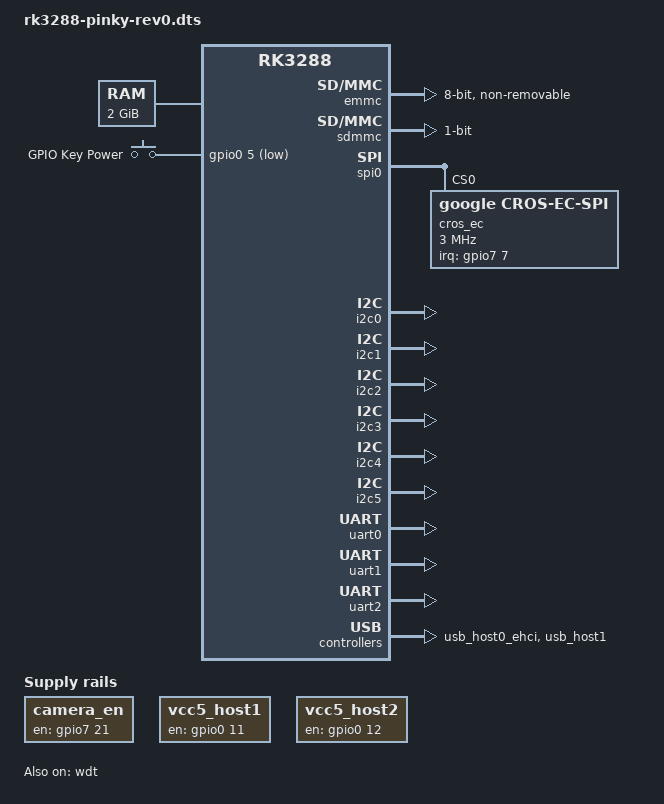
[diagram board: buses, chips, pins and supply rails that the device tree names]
/*
 * Google Veyron Pinky Rev 0 board device tree source
 *
 * Copyright 2014 Google, Inc
 *
 * This program is free software; you can redistribute it and/or modify
 * it under the terms of the GNU General Public License version 2 as
 * published by the Free Software Foundation.
 */

/dts-v1/;
#include "rk3288.dtsi"

/ {
	compatible = "google,veyron-pinky-rev0", "google,veyron-pinky",
		     "google,veyron", "rockchip,rk3288";

	aliases {
		i2c20 = &i2c20;
	};

	memory {
		reg = <0x0 0x80000000>;
	};

	gpio-keys {
		compatible = "gpio-keys";
		#address-cells = <1>;
		#size-cells = <0>;
		autorepeat;

		pinctrl-names = "default";
		pinctrl-0 = <&pwrbtn>;

		button@0 {
			gpios = <&gpio0 5 GPIO_ACTIVE_LOW>;
			linux,code = <116>;
			label = "GPIO Key Power";
			linux,input-type = <1>;
			gpio-key,wakeup = <1>;
			debounce-interval = <100>;
		};
	};

	/* This turns on vbus for host0 (ehci) only used for camera */
	camera_en: camera-en {
		compatible = "regulator-fixed";
		enable-active-high;
		gpio = <&gpio7 21 GPIO_ACTIVE_HIGH>;
		pinctrl-names = "default";
		pinctrl-0 = <&usb0_pwr_en>;
		regulator-name = "camera_en";
		regulator-always-on;
		regulator-boot-on;
	};

	/* This turns on vbus for host1 (dwc2) */
	vcc5_host1: vcc5-host1-regulator {
		compatible = "regulator-fixed";
		enable-active-high;
		gpio = <&gpio0 11 GPIO_ACTIVE_HIGH>;
		pinctrl-names = "default";
		pinctrl-0 = <&usb1_pwr_en>;
		regulator-name = "vcc5_host1";
		regulator-always-on;
		regulator-boot-on;
	};

	/* This turns on vbus for otg for host mode (dwc2) */
	vcc5_host2: vcc5-host2-regulator {
		compatible = "regulator-fixed";
		enable-active-high;
		gpio = <&gpio0 12 GPIO_ACTIVE_HIGH>;
		pinctrl-names = "default";
		pinctrl-0 = <&usb2_pwr_en>;
		regulator-name = "vcc5_host2";
		regulator-always-on;
		regulator-boot-on;
	};
};

&emmc {
	broken-cd;
	bus-width = <8>;
	cap-mmc-highspeed;
	disable-wp;
	non-removable;
	num-slots = <1>;
	pinctrl-names = "default";
	pinctrl-0 = <&emmc_clk &emmc_cmd &emmc_pwr &emmc_bus8>;
	status = "okay";
};

&sdmmc {
        /* This is 1 because we get errors with width 4 at 25Mhz */
	bus-width = <1>;
	cap-mmc-highspeed;
	cap-sd-highspeed;
	card-detect-delay = <200>;
	disable-wp; /* not hooked up*/
	num-slots = <1>;
	pinctrl-names = "default";
	pinctrl-0 = <&sdmmc_clk &sdmmc_cmd &sdmmc_cd &sdmmc_bus4>;
	status = "okay";
};

&spi0 {
	status = "okay";

	cros_ec: ec@0 {
		compatible = "google,cros-ec-spi";
		spi-max-frequency = <3000000>;
		interrupt-parent = <&gpio7>;
		interrupts = <7 IRQ_TYPE_LEVEL_LOW>;
		pinctrl-names = "default";
		pinctrl-0 = <&ec_int>;
		reg = <0>;

		i2c20: i2c-tunnel {
			compatible = "google,cros-ec-i2c-tunnel";
			google,remote-bus = <0>;
			#address-cells = <1>;
			#size-cells = <0>;

			battery: sbs-battery@b {
				compatible = "sbs,sbs-battery";
				reg = <0xb>;
				sbs,i2c-retry-count = <2>;
				sbs,poll-retry-count = <1>;
			};
		};
	};
};

&i2c0 {
	status = "okay";
};

&i2c1 {
	status = "okay";
};

&i2c2 {
	status = "okay";
};

&i2c3 {
	status = "okay";
};

&i2c4 {
	status = "okay";
};

&i2c5 {
	status = "okay";
};

&wdt {
	status = "okay";
};

&uart0 {
	status = "okay";
};

&uart1 {
	status = "okay";
};

&uart2 {
	status = "okay";
};

&pinctrl {
	buttons {
		pwrbtn: pwrbtn {
			rockchip,pins = <0 5 RK_FUNC_GPIO &pcfg_pull_up>;
		};
	};

	cros-ec {
		ec_int: ec-int {
			rockchip,pins = <7 7 RK_FUNC_GPIO &pcfg_pull_none>;
		};
	};

	usb-host {
		usb0_pwr_en: usb0-pwr-en {
			rockchip,pins = <7 21 RK_FUNC_GPIO &pcfg_pull_none>;
		};

		usb1_pwr_en: usb1-pwr-en {
			rockchip,pins = <0 11 RK_FUNC_GPIO &pcfg_pull_none>;
		};

		usb2_pwr_en: usb2-pwr-en {
			rockchip,pins = <0 12 RK_FUNC_GPIO &pcfg_pull_none>;
		};
	};
};

&usb_host0_ehci {
	status = "okay";
};

&usb_host1 {
	status = "okay";
};

#include "cros-ec-keyboard.dtsi"
